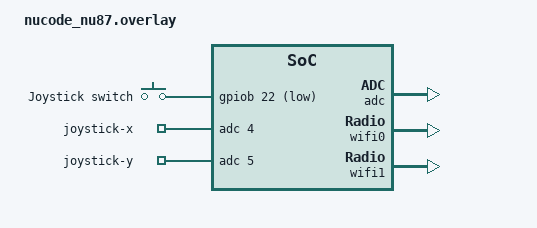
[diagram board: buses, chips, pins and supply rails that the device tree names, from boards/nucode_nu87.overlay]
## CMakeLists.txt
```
# SPDX-License-Identifier: Apache-2.0

cmake_minimum_required(VERSION 3.20.0)

find_package(Zephyr REQUIRED HINTS $ENV{ZEPHYR_BASE})
find_package(Python REQUIRED COMPONENTS Interpreter)
project(microwallaby_nu87_web_nes_poc)

set(web_dir ${CMAKE_CURRENT_SOURCE_DIR}/web)
set(gen_dir ${ZEPHYR_BINARY_DIR}/include/generated)

target_include_directories(app PRIVATE
  include
  ${CMAKE_CURRENT_SOURCE_DIR}/../nu87_io_bringup/include
)

target_sources(app PRIVATE
  src/input_protocol.c
  src/joystick.c
  src/main.c
  src/web_server.c
  src/websocket_control.c
  src/wifi_sta.c
  ../nu87_io_bringup/src/input_filter.c
)

target_link_libraries(app PRIVATE zephyr_interface zephyr)

zephyr_linker_sources(SECTIONS sections-rom.ld)
zephyr_linker_section(
  NAME http_resource_desc_mw_http_service
  KVMA RAM_REGION
  GROUP RODATA_REGION
)

generate_inc_file_for_target(app
  ${web_dir}/index.html
  ${gen_dir}/mw_index.html.gz.inc
  --gzip
)
generate_inc_file_for_target(app
  ${web_dir}/app.js
  ${gen_dir}/mw_app.js.gz.inc
  --gzip
)
generate_inc_file_for_target(app
  ${web_dir}/controller.js
  ${gen_dir}/mw_controller.js.gz.inc
  --gzip
)
generate_inc_file_for_target(app
  ${web_dir}/vendor/jsnes.min.js
  ${gen_dir}/mw_jsnes.min.js.gz.inc
  --gzip
)
```

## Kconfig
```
# SPDX-License-Identifier: Apache-2.0

mainmenu "microWallaby NU-87 Wi-Fi web NES PoC"

source "Kconfig.zephyr"

menu "microWallaby web NES PoC options"

config MW_WIFI_SSID
	string "Wi-Fi SSID"
	default ""
	help
	  Local-only build value. Keep credentials in the ignored wifi.conf file.

config MW_WIFI_PSK
	string "Wi-Fi password"
	default ""
	help
	  Local-only build value. Keep credentials in the ignored wifi.conf file.

choice MW_WIFI_SECURITY
	prompt "Wi-Fi security"
	default MW_WIFI_SECURITY_OPEN

config MW_WIFI_SECURITY_OPEN
	bool "Open (isolated test network only)"

config MW_WIFI_SECURITY_PSK
	bool "WPA2-PSK (explicit test-only opt-in)"

endchoice

config MW_ALLOW_INSECURE_TEST_PSK
	bool "Acknowledge AmebaD test-only random source for WPA2-PSK"
	depends on MW_WIFI_SECURITY_PSK
	default n
	help
	  The pinned AmebaD Zephyr port has no verified hardware entropy source.
	  Enable this only for a disposable WPA2 credential on a network isolated
	  from the home LAN and Internet. Never use a normal home Wi-Fi password.

config MW_WIFI_CONNECT_DELAY_MS
	int "Initial Wi-Fi connection delay (ms)"
	range 0 60000
	default 500

config MW_WIFI_CONNECT_RETRY_SECONDS
	int "Wi-Fi retry interval (seconds)"
	range 1 300
	default 10

config MW_WIFI_CONNECT_TIMEOUT_SECONDS
	int "Wi-Fi/DHCP connection timeout (seconds)"
	range 5 300
	default 30
	help
	  Retry if the Ameba driver does not report a successful connection and
	  DHCP lease before this interval expires.

config MW_WIFI_WORK_STACK_SIZE
	int "Dedicated Wi-Fi control workqueue stack size"
	range 2048 8192
	default 3072
	help
	  Stack used by the private queue that serializes the Ameba connect and
	  disconnect calls. Keeping these synchronous calls off Zephyr's system
	  workqueue prevents them from blocking unrelated system work.

config MW_WIFI_WORK_PRIORITY
	int "Dedicated Wi-Fi control workqueue priority"
	range 0 14
	default 7
	help
	  Preemptible Zephyr thread priority for Wi-Fi control work. Lower numeric
	  values have higher scheduling priority.

config MW_INPUT_STALE_TIMEOUT_MS
	int "Maximum joystick sample age before fail-safe release (ms)"
	range 20 1000
	default 100
	help
	  WebSocket frames older than this are marked invalid and forced to neutral.
	  This is independent from the browser's 250 ms transport stale timeout.

config MW_DEBOUNCE_SAMPLES
	int "Consecutive samples required for switch change"
	range 1 10
	default 3

config MW_ADC_RESOLUTION
	int "ADC resolution"
	range 12 12
	default 12

config MW_JOYSTICK_MIN
	int "Initial joystick minimum"
	range 0 4095
	default 0

config MW_JOYSTICK_CENTER
	int "Initial joystick center"
	range 1 4094
	default 2048

config MW_JOYSTICK_MAX
	int "Initial joystick maximum"
	range 1 4095
	default 4095

config MW_JOYSTICK_DEADZONE
	int "Initial joystick dead-zone in ADC counts"
	range 0 1024
	default 205

config MW_JOYSTICK_SAMPLE_PERIOD_MS
	int "Joystick sample period (ms)"
	range 5 100
	default 10

config MW_JOYSTICK_STACK_SIZE
	int "Joystick sampler stack size"
	default 1536

config MW_JOYSTICK_THREAD_PRIORITY
	int "Joystick sampler thread priority"
	range -16 15
	default 3

config MW_WEB_HTTP_PORT
	int "HTTP listen port"
	range 1 65535
	default 8080

config MW_WEB_INPUT_PERIOD_MS
	int "WebSocket joystick event period (ms)"
	range 10 1000
	default 20

config MW_WEB_SEND_TIMEOUT_MS
	int "WebSocket send timeout (ms)"
	range 0 5000
	default 100

config MW_WEB_SOCKET_STACK_SIZE
	int "Joystick WebSocket sender stack size"
	default 2048

config MW_WEB_SOCKET_PRIORITY
	int "Joystick WebSocket sender priority"
	range -16 15
	default 5

config MW_WEB_LOG_LEVEL
	int "Application log level"
	range 0 4
	default 3

endmenu
```

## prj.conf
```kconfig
# Core and diagnostics
CONFIG_GPIO=y
CONFIG_ADC=y
CONFIG_PINCTRL=y
CONFIG_CONSOLE=y
CONFIG_SERIAL=y
CONFIG_UART_CONSOLE=y
CONFIG_PRINTK=y
CONFIG_LOG=y
CONFIG_LOG_MODE_DEFERRED=y
CONFIG_LOG_DEFAULT_LEVEL=3
CONFIG_THREAD_NAME=y
CONFIG_ASSERT=y
CONFIG_MAIN_STACK_SIZE=2048
CONFIG_SYSTEM_WORKQUEUE_STACK_SIZE=2048

# Native IPv4 networking and Ameba station mode
CONFIG_NETWORKING=y
CONFIG_NET_IPV4=y
CONFIG_NET_IPV6=n
CONFIG_NET_TCP=y
CONFIG_NET_UDP=y
CONFIG_NET_SOCKETS=y
CONFIG_NET_CONNECTION_MANAGER=y
CONFIG_NET_DHCPV4=y
CONFIG_WIFI=y
CONFIG_WIFI_AMEBA=y
CONFIG_NET_L2_WIFI_MGMT=y
CONFIG_RTK_WIFI_STA_AUTO_DHCPV4=y
# Realtek's single-core Wi-Fi archive places DMA descriptors in .nocache.data.
CONFIG_NOCACHE_MEMORY=y

# HTTP/1.1 and WebSocket only. HTTP/2 would add RAM/flash cost without helping
# the single-browser, local-network PoC.
CONFIG_HTTP_SERVER=y
CONFIG_HTTP_SERVER_VERSION_1=y
CONFIG_HTTP_SERVER_VERSION_2=n
CONFIG_HTTP_SERVER_WEBSOCKET=y
CONFIG_HTTP_SERVER_MAX_CLIENTS=2
CONFIG_HTTP_SERVER_CLIENT_BUFFER_SIZE=512
CONFIG_HTTP_SERVER_STACK_SIZE=3072
CONFIG_POSIX_API=y
CONFIG_ZVFS_POLL_MAX=8

# Sized from Zephyr's Ameba Wi-Fi shell sample, then reduced to the number of
# connections needed by one page, one status request and one WebSocket.
CONFIG_HEAP_MEM_POOL_SIZE=65536
CONFIG_SYS_HEAP_RUNTIME_STATS=y
CONFIG_NET_PKT_RX_COUNT=10
CONFIG_NET_PKT_TX_COUNT=10
CONFIG_NET_BUF_RX_COUNT=20
# Native TCP keeps queued data while constructing a packet for transmission.
# Zephyr's minimum 1280-byte send window therefore needs more than 20
# 128-byte TX buffers; 32 also leaves headroom for the HTTP/WebSocket service.
CONFIG_NET_BUF_TX_COUNT=32
CONFIG_NET_MAX_CONTEXTS=10
CONFIG_NET_MAX_CONN=10
CONFIG_NET_MGMT_EVENT_QUEUE_SIZE=16
CONFIG_NET_MGMT_EVENT_QUEUE_TIMEOUT=5000
```

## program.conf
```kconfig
# Include the Realtek network-processor image in a flashable NU-87 build.
CONFIG_SOC_AMEBA_NP_IMAGE=y
```

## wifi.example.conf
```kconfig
# Copy this file to wifi.conf. wifi.conf is ignored by Git.
# Use a 2.4 GHz AP isolated from the home LAN and Internet.
CONFIG_MW_WIFI_SSID="YOUR_ISOLATED_2_4_GHZ_TEST_SSID"
CONFIG_MW_WIFI_PSK=""
CONFIG_MW_WIFI_SECURITY_OPEN=y

# A disposable WPA2 test credential requires both explicit settings below.
# The current AmebaD port has no verified cryptographic entropy source.
# CONFIG_MW_WIFI_SECURITY_PSK=y
# CONFIG_MW_WIFI_PSK="DISPOSABLE_TEST_PASSWORD"
# CONFIG_MW_ALLOW_INSECURE_TEST_PSK=y
```

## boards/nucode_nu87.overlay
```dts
/*
 * microWallaby joystick-only Wi-Fi fixture
 *
 * Joystick module wiring:
 *   module GND -> NU-87 GND
 *   module 5V  -> NU-87 3V3 (the label is a supply pin, do not apply 5 V)
 *   module VRx -> PB1 / ADC4
 *   module VRy -> PB2 / ADC5
 *   module SW  -> PB22
 *
 * SPDX-License-Identifier: Apache-2.0
 */

#include <zephyr/dt-bindings/gpio/gpio.h>
#include <zephyr/dt-bindings/input/input-event-codes.h>
#include <zephyr/dt-bindings/pinctrl/amebad-pinctrl.h>

/ {
	aliases {
		mw-joystick-sw = &mw_joystick_sw;
	};

	mw_inputs {
		compatible = "gpio-keys";
		polling-mode;

		/* Internal pull-up means no external 10 kohm resistor is required. */
		mw_joystick_sw: joystick_sw {
			gpios = <&gpiob 22 (GPIO_PULL_UP | GPIO_ACTIVE_LOW)>;
			label = "Joystick switch";
			zephyr,code = <INPUT_BTN_THUMBL>;
		};
	};

	zephyr,user {
		io-channels = <&adc 4>, <&adc 5>;
		io-channel-names = "joystick-x", "joystick-y";
	};
};

&pinctrl {
	mw_web_adc_default: mw_web_adc_default {
		group1 {
			pinmux = <AMEBA_PINMUX('B', 1, AMEBA_GPIO)>,
				 <AMEBA_PINMUX('B', 2, AMEBA_GPIO)>;
			digital-input-disable;
		};
	};
};

&adc {
	pinctrl-0 = <&mw_web_adc_default>;
	pinctrl-names = "default";
	status = "okay";
};

/* The Ameba driver declares station/AP interfaces as two DT instances. */
&wifi0 {
	status = "okay";
};

&wifi1 {
	status = "okay";
};
```

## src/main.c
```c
/* SPDX-License-Identifier: Apache-2.0 */

#include <zephyr/kernel.h>
#include <zephyr/logging/log.h>

#include <microwallaby_web/joystick.h>
#include <microwallaby_web/web_server.h>
#include <microwallaby_web/wifi_sta.h>

LOG_MODULE_REGISTER(mw_web_nes_main, CONFIG_MW_WEB_LOG_LEVEL);

int main(void)
{
	int ret;

	LOG_INF("microWallaby NU-87 Wi-Fi NES PoC starting");
	LOG_INF("No ROM is stored on or uploaded to this board");
	LOG_WRN("TEST ONLY: connect this firmware only to an isolated test network");

	ret = mw_joystick_start();
	if (ret < 0) {
		LOG_ERR("Joystick initialization failed: %d", ret);
	}

	ret = mw_web_server_start();
	if (ret < 0) {
		return ret;
	}

	ret = mw_wifi_sta_start();
	if (ret < 0) {
		LOG_ERR("Wi-Fi startup failed; Wi-Fi is disabled: %d", ret);
	}

	return 0;
}
```

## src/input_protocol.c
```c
/* SPDX-License-Identifier: Apache-2.0 */

#include <errno.h>
#include <inttypes.h>
#include <stdio.h>

#include <microwallaby_web/input_protocol.h>

bool mw_input_sample_sanitize(struct mw_joystick_sample *sample, int64_t sent_ms,
			      uint32_t maximum_age_ms)
{
	bool stale;

	if (sample == NULL) {
		return true;
	}

	stale = sample->captured_ms < 0 || sent_ms < sample->captured_ms ||
		(sent_ms - sample->captured_ms) > maximum_age_ms;
	if (stale || !sample->input_ok) {
		sample->x_permille = 0;
		sample->y_permille = 0;
		sample->sw_pressed = false;
	}
	if (stale) {
		sample->input_ok = false;
	}

	return stale;
}

int mw_input_event_format(char *buffer, size_t capacity,
			  const struct mw_joystick_sample *sample,
			  uint32_t transmit_sequence, int64_t sent_ms)
{
	int written;

	if (buffer == NULL || capacity == 0U || sample == NULL) {
		return -EINVAL;
	}

	written = snprintf(buffer, capacity,
			   "{\"v\":%d,\"seq\":%" PRIu32 ",\"sample_seq\":%" PRIu32
			   ",\"sample_ms\":%" PRId64 ",\"sent_ms\":%" PRId64
			   ",\"x\":%d,\"y\":%d,\"sw\":%s,\"ok\":%s}",
			   MW_INPUT_PROTOCOL_VERSION, transmit_sequence, sample->sequence,
			   sample->captured_ms, sent_ms, sample->x_permille,
			   sample->y_permille, sample->sw_pressed ? "true" : "false",
			   sample->input_ok ? "true" : "false");
	if (written < 0) {
		return written;
	}
	if ((size_t)written >= capacity) {
		return -ENOSPC;
	}

	return written;
}
```

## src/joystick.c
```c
/* SPDX-License-Identifier: Apache-2.0 */

#include <errno.h>

#include <zephyr/devicetree.h>
#include <zephyr/drivers/adc.h>
#include <zephyr/drivers/gpio.h>
#include <zephyr/kernel.h>
#include <zephyr/logging/log.h>
#include <zephyr/sys/atomic.h>
#include <zephyr/sys/util.h>

#include <microwallaby/input_filter.h>
#include <microwallaby_web/joystick.h>

LOG_MODULE_REGISTER(mw_joystick, CONFIG_MW_WEB_LOG_LEVEL);

#define USER_NODE DT_PATH(zephyr_user)
#define SWITCH_NODE DT_ALIAS(mw_joystick_sw)

#if !DT_NODE_EXISTS(SWITCH_NODE)
#error "The NU-87 web NES overlay must define the mw-joystick-sw alias"
#endif

BUILD_ASSERT(CONFIG_MW_JOYSTICK_MIN < CONFIG_MW_JOYSTICK_CENTER,
	     "joystick minimum must be below center");
BUILD_ASSERT(CONFIG_MW_JOYSTICK_CENTER < CONFIG_MW_JOYSTICK_MAX,
	     "joystick center must be below maximum");
BUILD_ASSERT(CONFIG_MW_JOYSTICK_DEADZONE <
	     (CONFIG_MW_JOYSTICK_CENTER - CONFIG_MW_JOYSTICK_MIN),
	     "joystick dead-zone must fit below center");
BUILD_ASSERT(CONFIG_MW_JOYSTICK_DEADZONE <
	     (CONFIG_MW_JOYSTICK_MAX - CONFIG_MW_JOYSTICK_CENTER),
	     "joystick dead-zone must fit above center");

static const struct gpio_dt_spec joystick_sw = GPIO_DT_SPEC_GET(SWITCH_NODE, gpios);
static const struct adc_dt_spec joystick_x = ADC_DT_SPEC_GET_BY_NAME(USER_NODE, joystick_x);
static const struct adc_dt_spec joystick_y = ADC_DT_SPEC_GET_BY_NAME(USER_NODE, joystick_y);

BUILD_ASSERT(DT_SAME_NODE(DT_IO_CHANNELS_CTLR_BY_NAME(USER_NODE, joystick_x),
			  DT_IO_CHANNELS_CTLR_BY_NAME(USER_NODE, joystick_y)),
	     "joystick axes must use the same ADC controller");
BUILD_ASSERT(DT_IO_CHANNELS_INPUT_BY_NAME(USER_NODE, joystick_x) <
		     DT_IO_CHANNELS_INPUT_BY_NAME(USER_NODE, joystick_y),
	     "ADC sequence returns joystick X before Y");

static struct mw_debounce switch_filter;
static struct mw_joystick_sample latest_sample;
static bool latest_ready;
static uint32_t sample_sequence;
static atomic_t samples_total;
static atomic_t input_errors;
static atomic_t deadline_misses;

K_MUTEX_DEFINE(sample_lock);
K_THREAD_STACK_DEFINE(sample_stack, CONFIG_MW_JOYSTICK_STACK_SIZE);
static struct k_thread sample_thread_data;

static bool raw_level_is_active(const struct gpio_dt_spec *spec, int raw_level)
{
	bool active_low = (spec->dt_flags & GPIO_ACTIVE_LOW) != 0U;

	return active_low ? raw_level == 0 : raw_level != 0;
}

static int configure_adc_channel(const struct adc_dt_spec *spec)
{
	struct adc_channel_cfg channel = {
		.gain = ADC_GAIN_1,
		.reference = ADC_REF_INTERNAL,
		.acquisition_time = ADC_ACQ_TIME_DEFAULT,
		.channel_id = spec->channel_id,
		.differential = false,
	};

	return adc_channel_setup(spec->dev, &channel);
}

static int read_adc_axes(uint16_t values[2])
{
	struct adc_sequence sequence = {
		.channels = BIT(joystick_x.channel_id) |
			    BIT(joystick_y.channel_id),
		.buffer = values,
		.buffer_size = 2U * sizeof(values[0]),
		.resolution = CONFIG_MW_ADC_RESOLUTION,
	};

	return adc_read(joystick_x.dev, &sequence);
}

static void publish_sample(const struct mw_joystick_sample *sample)
{
	k_mutex_lock(&sample_lock, K_FOREVER);
	latest_sample = *sample;
	latest_ready = true;
	k_mutex_unlock(&sample_lock);
}

static int sample_once(struct mw_joystick_sample *sample)
{
	uint16_t raw_axes[2];
	bool switch_changed;
	int switch_raw;
	int ret;

	*sample = (struct mw_joystick_sample) {
		.sequence = ++sample_sequence,
		.captured_ms = k_uptime_get(),
	};

	switch_raw = gpio_pin_get_raw(joystick_sw.port, joystick_sw.pin);
	if (switch_raw < 0) {
		return switch_raw;
	}
	sample->sw_pressed = mw_debounce_update(
		&switch_filter, raw_level_is_active(&joystick_sw, switch_raw),
		CONFIG_MW_DEBOUNCE_SAMPLES, &switch_changed);

	/* Read both axes in one conversion list; the driver validates channel IDs
	 * and returns samples in ascending channel order.
	 */
	ret = read_adc_axes(raw_axes);
	if (ret < 0) {
		return ret;
	}
	sample->raw_x = raw_axes[0];
	sample->raw_y = raw_axes[1];

	sample->x_permille = mw_axis_normalize(
		sample->raw_x, CONFIG_MW_JOYSTICK_MIN, CONFIG_MW_JOYSTICK_CENTER,
		CONFIG_MW_JOYSTICK_MAX, CONFIG_MW_JOYSTICK_DEADZONE);
	sample->y_permille = mw_axis_normalize(
		sample->raw_y, CONFIG_MW_JOYSTICK_MIN, CONFIG_MW_JOYSTICK_CENTER,
		CONFIG_MW_JOYSTICK_MAX, CONFIG_MW_JOYSTICK_DEADZONE);
	sample->input_ok = true;

	return 0;
}

static void sample_thread(void *unused1, void *unused2, void *unused3)
{
	const int64_t period_ms = CONFIG_MW_JOYSTICK_SAMPLE_PERIOD_MS;
	int64_t next_deadline_ms = k_uptime_get();
	uint32_t consecutive_errors = 0U;

	ARG_UNUSED(unused1);
	ARG_UNUSED(unused2);
	ARG_UNUSED(unused3);

	while (true) {
		struct mw_joystick_sample sample;
		int ret = sample_once(&sample);
		int64_t now_ms;

		atomic_inc(&samples_total);
		if (ret < 0) {
			sample.input_ok = false;
			atomic_inc(&input_errors);
			consecutive_errors++;
			if (consecutive_errors == 1U || consecutive_errors % 100U == 0U) {
				LOG_ERR("Joystick sampling failed: %d (count=%u)", ret,
					consecutive_errors);
			}
		} else {
			consecutive_errors = 0U;
		}
		publish_sample(&sample);

		/* Use absolute deadlines so ADC time does not accumulate as sampler
		 * drift. Count every skipped 10 ms slot for the soak-test record.
		 */
		next_deadline_ms += period_ms;
		now_ms = k_uptime_get();
		if (now_ms > next_deadline_ms) {
			uint32_t missed = (uint32_t)((now_ms - next_deadline_ms) /
						     period_ms) + 1U;

			atomic_add(&deadline_misses, (atomic_val_t)missed);
			next_deadline_ms += (int64_t)missed * period_ms;
		}
		k_sleep(K_TIMEOUT_ABS_MS(next_deadline_ms));
	}
}

int mw_joystick_start(void)
{
	int ret;

	if (!gpio_is_ready_dt(&joystick_sw) || !device_is_ready(joystick_x.dev) ||
	    !device_is_ready(joystick_y.dev)) {
		return -ENODEV;
	}

	ret = gpio_pin_configure_dt(&joystick_sw, GPIO_INPUT);
	if (ret < 0) {
		return ret;
	}
	ret = configure_adc_channel(&joystick_x);
	if (ret < 0) {
		return ret;
	}
	ret = configure_adc_channel(&joystick_y);
	if (ret < 0) {
		return ret;
	}

	k_thread_create(&sample_thread_data, sample_stack,
			K_THREAD_STACK_SIZEOF(sample_stack), sample_thread,
			NULL, NULL, NULL, CONFIG_MW_JOYSTICK_THREAD_PRIORITY, 0,
			K_NO_WAIT);
	k_thread_name_set(&sample_thread_data, "mw_joystick");
	LOG_INF("Joystick sampler started at %d Hz",
		1000 / CONFIG_MW_JOYSTICK_SAMPLE_PERIOD_MS);

	return 0;
}

bool mw_joystick_latest(struct mw_joystick_sample *sample)
{
	bool ready;

	if (sample == NULL) {
		return false;
	}

	k_mutex_lock(&sample_lock, K_FOREVER);
	*sample = latest_sample;
	ready = latest_ready;
	k_mutex_unlock(&sample_lock);

	return ready;
}

void mw_joystick_get_stats(struct mw_joystick_stats *stats)
{
	if (stats == NULL) {
		return;
	}

	*stats = (struct mw_joystick_stats) {
		.samples = (uint32_t)atomic_get(&samples_total),
		.input_errors = (uint32_t)atomic_get(&input_errors),
		.deadline_misses = (uint32_t)atomic_get(&deadline_misses),
	};
}
```

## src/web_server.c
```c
/* SPDX-License-Identifier: Apache-2.0 */

#include <errno.h>
#include <inttypes.h>
#include <stdio.h>

#include <zephyr/kernel.h>
#include <zephyr/logging/log.h>
#include <zephyr/net/http/server.h>
#include <zephyr/net/http/service.h>
#include <zephyr/net/socket.h>
#include <zephyr/net/websocket.h>
#include <zephyr/sys/atomic.h>
#include <zephyr/sys/mem_stats.h>
#include <zephyr/sys/sys_heap.h>
#include <zephyr/sys/util.h>

#include <microwallaby_web/input_protocol.h>
#include <microwallaby_web/joystick.h>
#include <microwallaby_web/web_server.h>
#include <microwallaby_web/websocket_control.h>
#include <microwallaby_web/wifi_sta.h>

LOG_MODULE_REGISTER(mw_web_server, CONFIG_MW_WEB_LOG_LEVEL);

#define WS_BUFFER_SIZE 256
#define WS_PAYLOAD_SIZE 192
#define WS_CONTROL_PAYLOAD_SIZE 125
#define STATUS_PAYLOAD_SIZE 448

extern struct k_heap _system_heap;

static const uint8_t index_html_gz[] = {
#include "mw_index.html.gz.inc"
};

static const uint8_t app_js_gz[] = {
#include "mw_app.js.gz.inc"
};

static const uint8_t controller_js_gz[] = {
#include "mw_controller.js.gz.inc"
};

static const uint8_t jsnes_js_gz[] = {
#include "mw_jsnes.min.js.gz.inc"
};

static struct http_resource_detail_static index_resource_detail = {
	.common = {
		.type = HTTP_RESOURCE_TYPE_STATIC,
		.bitmask_of_supported_http_methods = BIT(HTTP_GET),
		.content_encoding = "gzip",
		.content_type = "text/html",
	},
	.static_data = index_html_gz,
	.static_data_len = sizeof(index_html_gz),
};

static struct http_resource_detail_static app_resource_detail = {
	.common = {
		.type = HTTP_RESOURCE_TYPE_STATIC,
		.bitmask_of_supported_http_methods = BIT(HTTP_GET),
		.content_encoding = "gzip",
		.content_type = "text/javascript",
	},
	.static_data = app_js_gz,
	.static_data_len = sizeof(app_js_gz),
};

static struct http_resource_detail_static controller_resource_detail = {
	.common = {
		.type = HTTP_RESOURCE_TYPE_STATIC,
		.bitmask_of_supported_http_methods = BIT(HTTP_GET),
		.content_encoding = "gzip",
		.content_type = "text/javascript",
	},
	.static_data = controller_js_gz,
	.static_data_len = sizeof(controller_js_gz),
};

static struct http_resource_detail_static jsnes_resource_detail = {
	.common = {
		.type = HTTP_RESOURCE_TYPE_STATIC,
		.bitmask_of_supported_http_methods = BIT(HTTP_GET),
		.content_encoding = "gzip",
		.content_type = "text/javascript",
	},
	.static_data = jsnes_js_gz,
	.static_data_len = sizeof(jsnes_js_gz),
};

static int active_websocket = -1;
static atomic_t websocket_connected;
static atomic_t packets_sent;
static atomic_t send_errors;
static atomic_t stale_input_frames;

K_MUTEX_DEFINE(websocket_lock);
K_SEM_DEFINE(websocket_ready, 0, 1);

static int system_heap_stats_get(struct sys_memory_stats *stats)
{
	k_spinlock_key_t key = k_spin_lock(&_system_heap.lock);
	int ret = sys_heap_runtime_stats_get(&_system_heap.heap, stats);

	k_spin_unlock(&_system_heap.lock, key);
	return ret;
}

static int status_handler(struct http_client_ctx *client,
			  enum http_transaction_status status,
			  const struct http_request_ctx *request_ctx,
			  struct http_response_ctx *response_ctx, void *user_data)
{
	static char response[STATUS_PAYLOAD_SIZE];
	struct mw_joystick_stats input_stats;
	struct sys_memory_stats heap_stats = {0};
	struct mw_web_server_stats stats;
	size_t heap_min_free = 0U;
	int heap_result;
	int written;

	ARG_UNUSED(client);
	ARG_UNUSED(request_ctx);
	ARG_UNUSED(user_data);

	if (status != HTTP_SERVER_REQUEST_DATA_FINAL) {
		return 0;
	}

	mw_web_server_get_stats(&stats);
	mw_joystick_get_stats(&input_stats);
	heap_result = system_heap_stats_get(&heap_stats);
	if (heap_result == 0 &&
	    heap_stats.free_bytes + heap_stats.allocated_bytes >=
		    heap_stats.max_allocated_bytes) {
		heap_min_free = heap_stats.free_bytes + heap_stats.allocated_bytes -
			heap_stats.max_allocated_bytes;
	}
	written = snprintk(response, sizeof(response),
			    "{\"v\":1,\"uptime_ms\":%" PRId64
			    ",\"wifi_ipv4\":%s,\"joystick_ws\":%s,"
			    "\"packets_sent\":%" PRIu32 ",\"send_errors\":%" PRIu32
			    ",\"stale_input_frames\":%" PRIu32
			    ",\"input_samples\":%" PRIu32 ",\"input_errors\":%" PRIu32
			    ",\"deadline_misses\":%" PRIu32 ",\"heap_stats_ok\":%s"
			    ",\"heap_free_bytes\":%zu,\"heap_allocated_bytes\":%zu"
			    ",\"heap_peak_allocated_bytes\":%zu,\"heap_min_free_bytes\":%zu}",
			    k_uptime_get(), mw_wifi_sta_ipv4_ready() ? "true" : "false",
			    stats.client_connected ? "true" : "false", stats.packets_sent,
			    stats.send_errors, stats.stale_input_frames, input_stats.samples,
			    input_stats.input_errors,
			    input_stats.deadline_misses, heap_result == 0 ? "true" : "false",
			    heap_stats.free_bytes, heap_stats.allocated_bytes,
			    heap_stats.max_allocated_bytes, heap_min_free);
	if (written < 0 || (size_t)written >= sizeof(response)) {
		return -ENOSPC;
	}

	response_ctx->body = (const uint8_t *)response;
	response_ctx->body_len = written;
	response_ctx->final_chunk = true;
	return 0;
}

static struct http_resource_detail_dynamic status_resource_detail = {
	.common = {
		.type = HTTP_RESOURCE_TYPE_DYNAMIC,
		.bitmask_of_supported_http_methods = BIT(HTTP_GET),
		.content_type = "application/json",
	},
	.cb = status_handler,
};

static uint8_t websocket_buffer[WS_BUFFER_SIZE];

static int websocket_setup(int socket, struct http_request_ctx *request_ctx,
			   void *user_data)
{
	ARG_UNUSED(request_ctx);
	ARG_UNUSED(user_data);

	k_mutex_lock(&websocket_lock, K_FOREVER);
	if (active_websocket >= 0) {
		k_mutex_unlock(&websocket_lock);
		LOG_WRN("Rejecting a second joystick WebSocket client");
		return -EBUSY;
	}
	active_websocket = socket;
	atomic_set(&websocket_connected, 1);
	k_mutex_unlock(&websocket_lock);

	k_sem_give(&websocket_ready);
	LOG_INF("Joystick WebSocket client connected");
	return 0;
}

static struct http_resource_detail_websocket websocket_resource_detail = {
	.common = {
		.type = HTTP_RESOURCE_TYPE_WEBSOCKET,
		.bitmask_of_supported_http_methods = BIT(HTTP_GET),
	},
	.cb = websocket_setup,
	.data_buffer = websocket_buffer,
	.data_buffer_len = sizeof(websocket_buffer),
};

static int current_websocket(void)
{
	int socket;

	k_mutex_lock(&websocket_lock, K_FOREVER);
	socket = active_websocket;
	k_mutex_unlock(&websocket_lock);
	return socket;
}

static void close_websocket(int socket)
{
	bool owned = false;

	k_mutex_lock(&websocket_lock, K_FOREVER);
	if (active_websocket == socket) {
		active_websocket = -1;
		atomic_clear(&websocket_connected);
		owned = true;
	}
	k_mutex_unlock(&websocket_lock);

	if (owned) {
		(void)websocket_unregister(socket);
	}
}

static int service_websocket_rx(int socket)
{
	uint8_t payload[WS_CONTROL_PAYLOAD_SIZE];
	uint32_t message_type = 0U;
	uint64_t remaining = 0U;
	int ret = websocket_recv_msg(socket, payload, sizeof(payload), &message_type,
				     &remaining, 0);
	int validation_ret;

	if (ret == -EAGAIN) {
		return 0;
	}
	if (ret < 0) {
		return ret;
	}
	validation_ret = mw_websocket_control_frame_validate(
		(message_type & WEBSOCKET_FLAG_FINAL) != 0U,
		(message_type & WEBSOCKET_FLAG_CLOSE) != 0U,
		(message_type & WEBSOCKET_FLAG_PING) != 0U,
		(message_type & WEBSOCKET_FLAG_PONG) != 0U, remaining);
	if (validation_ret < 0) {
		return validation_ret;
	}
	if ((message_type & WEBSOCKET_FLAG_CLOSE) != 0U) {
		return -ENOTCONN;
	}
	if ((message_type & WEBSOCKET_FLAG_PING) != 0U) {
		ret = websocket_send_msg(socket, payload, (size_t)ret,
					 WEBSOCKET_OPCODE_PONG, false, true,
					 CONFIG_MW_WEB_SEND_TIMEOUT_MS);
		return ret < 0 ? ret : 0;
	}
	if ((message_type & WEBSOCKET_FLAG_PONG) != 0U) {
		return 0;
	}

	return -EPROTO;
}

static void websocket_sender(void *unused1, void *unused2, void *unused3)
{
	char payload[WS_PAYLOAD_SIZE];
	uint32_t transmit_sequence = 0U;

	ARG_UNUSED(unused1);
	ARG_UNUSED(unused2);
	ARG_UNUSED(unused3);

	while (true) {
		int socket;

		k_sem_take(&websocket_ready, K_FOREVER);
		while ((socket = current_websocket()) >= 0) {
			struct mw_joystick_sample sample;
			int64_t sent_ms;
			int length;
			int ret;

			ret = service_websocket_rx(socket);
			if (ret < 0) {
				if (ret == -ENOTCONN) {
					LOG_INF("Joystick WebSocket peer closed");
				} else {
					atomic_inc(&send_errors);
					LOG_WRN("WebSocket receive/control error: %d", ret);
				}
				close_websocket(socket);
				break;
			}

			if (!mw_joystick_latest(&sample)) {
				k_sleep(K_MSEC(CONFIG_MW_WEB_INPUT_PERIOD_MS));
				continue;
			}

			sent_ms = k_uptime_get();
			if (mw_input_sample_sanitize(&sample, sent_ms,
						     CONFIG_MW_INPUT_STALE_TIMEOUT_MS)) {
				atomic_inc(&stale_input_frames);
			}

			/* Advance for every emission attempt. If formatting or sending fails,
			 * the next frame lets a connected/reconnected browser observe the gap.
			 */
			transmit_sequence++;
			length = mw_input_event_format(payload, sizeof(payload), &sample,
						       transmit_sequence, sent_ms);
			if (length < 0) {
				atomic_inc(&send_errors);
				LOG_ERR("Input event formatting failed: %d", length);
				k_sleep(K_MSEC(CONFIG_MW_WEB_INPUT_PERIOD_MS));
				continue;
			}

			ret = websocket_send_msg(socket, (const uint8_t *)payload, length,
						 WEBSOCKET_OPCODE_DATA_TEXT, false, true,
						 CONFIG_MW_WEB_SEND_TIMEOUT_MS);
			if (ret < 0) {
				atomic_inc(&send_errors);
				LOG_WRN("Joystick WebSocket closed: %d", ret);
				close_websocket(socket);
				break;
			}

			atomic_inc(&packets_sent);
			k_sleep(K_MSEC(CONFIG_MW_WEB_INPUT_PERIOD_MS));
		}
	}
}

K_THREAD_DEFINE(websocket_sender_thread, CONFIG_MW_WEB_SOCKET_STACK_SIZE,
		websocket_sender, NULL, NULL, NULL, CONFIG_MW_WEB_SOCKET_PRIORITY, 0, 0);

static uint16_t http_port = CONFIG_MW_WEB_HTTP_PORT;
HTTP_SERVICE_DEFINE(mw_http_service, NULL, &http_port,
		    CONFIG_HTTP_SERVER_MAX_CLIENTS, 2, NULL, NULL, NULL);

HTTP_RESOURCE_DEFINE(index_resource, mw_http_service, "/", &index_resource_detail);
HTTP_RESOURCE_DEFINE(app_resource, mw_http_service, "/app.js", &app_resource_detail);
HTTP_RESOURCE_DEFINE(controller_resource, mw_http_service, "/controller.js",
		     &controller_resource_detail);
HTTP_RESOURCE_DEFINE(jsnes_resource, mw_http_service, "/jsnes.min.js",
		     &jsnes_resource_detail);
HTTP_RESOURCE_DEFINE(status_resource, mw_http_service, "/api/status",
		     &status_resource_detail);
HTTP_RESOURCE_DEFINE(websocket_resource, mw_http_service, "/ws/input",
		     &websocket_resource_detail);

int mw_web_server_start(void)
{
	int ret = http_server_start();

	if (ret < 0) {
		LOG_ERR("HTTP server failed to start: %d", ret);
		return ret;
	}

	LOG_INF("HTTP/WebSocket server listening on port %u", http_port);
	return 0;
}

void mw_web_server_get_stats(struct mw_web_server_stats *stats)
{
	if (stats == NULL) {
		return;
	}

	*stats = (struct mw_web_server_stats) {
		.packets_sent = (uint32_t)atomic_get(&packets_sent),
		.send_errors = (uint32_t)atomic_get(&send_errors),
		.stale_input_frames = (uint32_t)atomic_get(&stale_input_frames),
		.client_connected = atomic_get(&websocket_connected) != 0,
	};
}
```

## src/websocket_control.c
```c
/* SPDX-License-Identifier: Apache-2.0 */

#include <errno.h>

#include <microwallaby_web/websocket_control.h>

int mw_websocket_control_frame_validate(bool final, bool close_frame,
					bool ping_frame, bool pong_frame,
					uint64_t remaining)
{
	unsigned int control_type_count = (close_frame ? 1U : 0U) +
		(ping_frame ? 1U : 0U) + (pong_frame ? 1U : 0U);

	if (remaining != 0U) {
		return -EMSGSIZE;
	}
	if (!final || control_type_count != 1U) {
		return -EPROTO;
	}

	return 0;
}
```

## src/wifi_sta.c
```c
/* SPDX-License-Identifier: Apache-2.0 */

#include <errno.h>
#include <stdio.h>

#include <zephyr/kernel.h>
#include <zephyr/logging/log.h>
#include <zephyr/net/net_if.h>
#include <zephyr/net/net_ip.h>
#include <zephyr/net/net_mgmt.h>
#include <zephyr/net/wifi.h>
#include <zephyr/net/wifi_mgmt.h>
#include <zephyr/sys/atomic.h>
#include <zephyr/sys/util.h>

#include <microwallaby_web/wifi_sta.h>

LOG_MODULE_REGISTER(mw_wifi_sta, CONFIG_MW_WEB_LOG_LEVEL);

#define WIFI_EVENTS (NET_EVENT_WIFI_CONNECT_RESULT | NET_EVENT_WIFI_DISCONNECT_RESULT)
#define IPV4_EVENTS (NET_EVENT_IPV4_ADDR_ADD | NET_EVENT_IPV4_ADDR_DEL)

enum wifi_phase {
	WIFI_PHASE_IDLE,
	WIFI_PHASE_RETRY_WAIT,
	WIFI_PHASE_CONNECTING,
	WIFI_PHASE_WAIT_DHCP,
	WIFI_PHASE_CANCEL_PENDING,
	WIFI_PHASE_DISCONNECTING,
	WIFI_PHASE_READY,
};

struct dhcp_address_search {
	bool found;
	char address[NET_IPV4_ADDR_LEN];
};

static struct net_if *sta_iface;
static struct net_mgmt_event_callback wifi_callback;
static struct net_mgmt_event_callback ipv4_callback;
static struct k_work_q wifi_work_queue;
static struct k_work_delayable reconnect_work;
static struct k_work disconnect_work;
static struct k_work_delayable connect_timeout_work;
static enum wifi_phase phase;
static uint32_t generation;
static uint32_t timeout_generation;
static int64_t timeout_deadline_ms;
static uint32_t cancel_generation;
static bool connect_result_ok;
static bool address_valid;
static atomic_t ipv4_ready;
static char ipv4_address[NET_IPV4_ADDR_LEN];

K_MUTEX_DEFINE(state_lock);
K_THREAD_STACK_DEFINE(wifi_work_stack, CONFIG_MW_WIFI_WORK_STACK_SIZE);

static enum wifi_security_type configured_security(void)
{
#if defined(CONFIG_MW_WIFI_SECURITY_OPEN)
	return WIFI_SECURITY_TYPE_NONE;
#else
	return WIFI_SECURITY_TYPE_PSK;
#endif
}

BUILD_ASSERT(!IS_ENABLED(CONFIG_MW_WIFI_SECURITY_PSK) ||
		     IS_ENABLED(CONFIG_MW_ALLOW_INSECURE_TEST_PSK),
		     "WPA2-PSK requires explicit CONFIG_MW_ALLOW_INSECURE_TEST_PSK=y");

static void clear_ipv4_locked(void)
{
	address_valid = false;
	ipv4_address[0] = '\0';
	atomic_clear(&ipv4_ready);
}

static bool mark_ready_if_complete_locked(void)
{
	bool became_ready = false;

	if (connect_result_ok && address_valid &&
	    (phase == WIFI_PHASE_CONNECTING || phase == WIFI_PHASE_WAIT_DHCP ||
	     phase == WIFI_PHASE_READY)) {
		became_ready = atomic_get(&ipv4_ready) == 0;
		phase = WIFI_PHASE_READY;
		atomic_set(&ipv4_ready, 1);
	}

	return became_ready;
}

static void schedule_connect(k_timeout_t delay)
{
	int ret = k_work_reschedule_for_queue(&wifi_work_queue, &reconnect_work, delay);

	if (ret < 0) {
		LOG_ERR("Failed to schedule Wi-Fi connection work: %d", ret);
	}
}

static void schedule_reconnect(void)
{
	schedule_connect(K_SECONDS(CONFIG_MW_WIFI_CONNECT_RETRY_SECONDS));
}

static int arm_connect_timeout_locked(void)
{
	timeout_generation = generation;
	timeout_deadline_ms =
		k_uptime_get() + (CONFIG_MW_WIFI_CONNECT_TIMEOUT_SECONDS * MSEC_PER_SEC);

	return k_work_reschedule(
		&connect_timeout_work, K_SECONDS(CONFIG_MW_WIFI_CONNECT_TIMEOUT_SECONDS));
}

static void log_ready_address(void)
{
	char address[NET_IPV4_ADDR_LEN];

	if (mw_wifi_sta_address(address, sizeof(address)) >= 0) {
		LOG_INF("Open http://%s:%d/ on a device connected to the same network", address,
			CONFIG_MW_WEB_HTTP_PORT);
	}
}

static void disconnect_work_handler(struct k_work *work)
{
	uint32_t work_generation;
	bool retry = false;
	int ret;

	ARG_UNUSED(work);

	k_mutex_lock(&state_lock, K_FOREVER);
	work_generation = cancel_generation;
	if (phase != WIFI_PHASE_CANCEL_PENDING || work_generation != generation) {
		k_mutex_unlock(&state_lock);
		return;
	}
	phase = WIFI_PHASE_DISCONNECTING;
	k_mutex_unlock(&state_lock);

	ret = net_mgmt(NET_REQUEST_WIFI_DISCONNECT, sta_iface, NULL, 0);
	if (ret >= 0) {
		/* The disconnect-result event is the barrier that permits a retry. */
		return;
	}

	LOG_ERR("Wi-Fi disconnect request failed: %d", ret);
	k_mutex_lock(&state_lock, K_FOREVER);
	if (generation == work_generation && phase == WIFI_PHASE_DISCONNECTING) {
		phase = WIFI_PHASE_RETRY_WAIT;
		connect_result_ok = false;
		clear_ipv4_locked();
		retry = true;
	}
	k_mutex_unlock(&state_lock);

	if (retry) {
		schedule_reconnect();
	}
}

static void connect_timeout_handler(struct k_work *work)
{
	uint32_t work_generation;
	int64_t remaining_ms;
	bool cancel = false;
	bool rearmed = false;
	int ret = 0;

	ARG_UNUSED(work);

	k_mutex_lock(&state_lock, K_FOREVER);
	work_generation = timeout_generation;
	if (work_generation == generation &&
	    (phase == WIFI_PHASE_CONNECTING || phase == WIFI_PHASE_WAIT_DHCP)) {
		remaining_ms = timeout_deadline_ms - k_uptime_get();
		if (remaining_ms > 0) {
			/*
			 * A cancelled handler from an older generation may already be
			 * running. Honor the current generation's absolute deadline.
			 */
			ret = k_work_reschedule(&connect_timeout_work, K_MSEC(remaining_ms));
			rearmed = true;
		} else {
			phase = WIFI_PHASE_CANCEL_PENDING;
			cancel_generation = work_generation;
			connect_result_ok = false;
			clear_ipv4_locked();
			cancel = true;
		}
	}
	k_mutex_unlock(&state_lock);

	if (rearmed) {
		if (ret < 0) {
			LOG_ERR("Failed to rearm Wi-Fi timeout: %d", ret);
		}
		return;
	}

	if (!cancel) {
		return;
	}

	LOG_WRN("Wi-Fi/DHCP timed out after %d seconds; cancelling generation %u",
		CONFIG_MW_WIFI_CONNECT_TIMEOUT_SECONDS, work_generation);
	ret = k_work_submit_to_queue(&wifi_work_queue, &disconnect_work);
	if (ret < 0) {
		LOG_ERR("Failed to queue Wi-Fi disconnect work: %d", ret);
	}
}

static void connect_work_handler(struct k_work *work)
{
	struct wifi_connect_req_params params = {
		.ssid = (const uint8_t *)CONFIG_MW_WIFI_SSID,
		.ssid_length = sizeof(CONFIG_MW_WIFI_SSID) - 1U,
		.security = configured_security(),
		.channel = WIFI_CHANNEL_ANY,
		.band = WIFI_FREQ_BAND_2_4_GHZ,
	};
	uint32_t work_generation;
	bool retry = false;
	int timeout_ret;
	int ret;

	ARG_UNUSED(work);

	k_mutex_lock(&state_lock, K_FOREVER);
	if (phase != WIFI_PHASE_IDLE && phase != WIFI_PHASE_RETRY_WAIT) {
		k_mutex_unlock(&state_lock);
		return;
	}
	work_generation = ++generation;
	phase = WIFI_PHASE_CONNECTING;
	connect_result_ok = false;
	clear_ipv4_locked();
	timeout_ret = arm_connect_timeout_locked();
	k_mutex_unlock(&state_lock);

	if (params.security != WIFI_SECURITY_TYPE_NONE) {
		params.psk = (const uint8_t *)CONFIG_MW_WIFI_PSK;
		params.psk_length = sizeof(CONFIG_MW_WIFI_PSK) - 1U;
	}

	if (timeout_ret < 0) {
		LOG_ERR("Failed to schedule Wi-Fi timeout: %d", timeout_ret);
	}

	LOG_INF("Connecting generation %u to configured isolated test AP (SSID length %zu)",
		work_generation, sizeof(CONFIG_MW_WIFI_SSID) - 1U);
	ret = net_mgmt(NET_REQUEST_WIFI_CONNECT, sta_iface, &params, sizeof(params));

	k_mutex_lock(&state_lock, K_FOREVER);
	if (generation != work_generation) {
		k_mutex_unlock(&state_lock);
		return;
	}

	if (ret < 0 && phase == WIFI_PHASE_CANCEL_PENDING) {
		/* The synchronous connect failed after its timeout. No disconnect is needed. */
		phase = WIFI_PHASE_RETRY_WAIT;
		connect_result_ok = false;
		clear_ipv4_locked();
		retry = true;
	} else if (ret < 0 && phase == WIFI_PHASE_CONNECTING) {
		phase = WIFI_PHASE_RETRY_WAIT;
		connect_result_ok = false;
		clear_ipv4_locked();
		retry = true;
	} else if (ret >= 0 && phase == WIFI_PHASE_CONNECTING) {
		/* Ameba starts DHCP after its synchronous association call returns. */
		phase = WIFI_PHASE_WAIT_DHCP;
	}
	k_mutex_unlock(&state_lock);

	if (ret < 0) {
		LOG_ERR("Wi-Fi connect request failed: %d", ret);
	}
	if (retry) {
		(void)k_work_cancel_delayable(&connect_timeout_work);
		schedule_reconnect();
	}
}

static void wifi_event_handler(struct net_mgmt_event_callback *callback,
			       uint64_t event, struct net_if *iface)
{
	const struct wifi_status *status = callback->info;
	bool cancel_timeout = false;
	bool ready = false;
	bool retry = false;

	if (iface != sta_iface) {
		return;
	}

	if (event == NET_EVENT_WIFI_CONNECT_RESULT) {
		int result = status != NULL ? status->status : -EIO;

		k_mutex_lock(&state_lock, K_FOREVER);
		if (phase != WIFI_PHASE_CONNECTING && phase != WIFI_PHASE_WAIT_DHCP) {
			uint32_t late_generation = generation;

			k_mutex_unlock(&state_lock);
			LOG_WRN("Ignoring late Wi-Fi result for generation %u", late_generation);
			return;
		}

		if (result != 0) {
			phase = WIFI_PHASE_RETRY_WAIT;
			connect_result_ok = false;
			clear_ipv4_locked();
			cancel_timeout = true;
			retry = true;
		} else {
			connect_result_ok = true;
			phase = WIFI_PHASE_WAIT_DHCP;
			ready = mark_ready_if_complete_locked();
			cancel_timeout = ready;
		}
		k_mutex_unlock(&state_lock);

		if (result != 0) {
			LOG_ERR("Wi-Fi association/DHCP failed: %d", result);
		} else if (!ready) {
			LOG_INF("Wi-Fi DHCP completed; waiting for the IPv4 address event");
		}
	} else if (event == NET_EVENT_WIFI_DISCONNECT_RESULT) {
		k_mutex_lock(&state_lock, K_FOREVER);
		if (phase == WIFI_PHASE_DISCONNECTING || phase == WIFI_PHASE_WAIT_DHCP ||
		    phase == WIFI_PHASE_READY) {
			phase = WIFI_PHASE_RETRY_WAIT;
			connect_result_ok = false;
			clear_ipv4_locked();
			cancel_timeout = true;
			retry = true;
		}
		k_mutex_unlock(&state_lock);

		if (retry) {
			LOG_WRN("Wi-Fi disconnected; retrying in %d seconds",
				CONFIG_MW_WIFI_CONNECT_RETRY_SECONDS);
		}
	}

	if (cancel_timeout) {
		(void)k_work_cancel_delayable(&connect_timeout_work);
	}
	if (ready) {
		LOG_INF("Wi-Fi connected; Ameba DHCP negotiation completed");
		log_ready_address();
	}
	if (retry) {
		schedule_reconnect();
	}
}

static void find_dhcp_address(struct net_if *iface, struct net_if_addr *if_addr,
			      void *user_data)
{
	struct dhcp_address_search *search = user_data;

	ARG_UNUSED(iface);

	if (search->found || if_addr->addr_type != NET_ADDR_DHCP) {
		return;
	}

	if (net_addr_ntop(NET_AF_INET, &if_addr->address.in_addr, search->address,
			  sizeof(search->address)) != NULL) {
		search->found = true;
	}
}

static void ipv4_event_handler(struct net_mgmt_event_callback *callback,
			       uint64_t event, struct net_if *iface)
{
	bool cancel_timeout = false;
	bool ready = false;

	ARG_UNUSED(callback);

	if (iface != sta_iface) {
		return;
	}

	if (event == NET_EVENT_IPV4_ADDR_DEL) {
		bool restart_timeout = false;
		int timeout_ret = 0;

		k_mutex_lock(&state_lock, K_FOREVER);
		clear_ipv4_locked();
		if (phase == WIFI_PHASE_READY) {
			phase = WIFI_PHASE_WAIT_DHCP;
			connect_result_ok = false;
			timeout_ret = arm_connect_timeout_locked();
			restart_timeout = true;
		}
		k_mutex_unlock(&state_lock);

		if (restart_timeout && timeout_ret < 0) {
			LOG_ERR("Failed to schedule DHCP recovery timeout: %d", timeout_ret);
		}
		return;
	}

	if (event == NET_EVENT_IPV4_ADDR_ADD) {
		struct dhcp_address_search search = {0};

		net_if_ipv4_addr_foreach(iface, find_dhcp_address, &search);
		if (!search.found) {
			return;
		}

		k_mutex_lock(&state_lock, K_FOREVER);
		if (phase == WIFI_PHASE_CONNECTING || phase == WIFI_PHASE_WAIT_DHCP ||
		    phase == WIFI_PHASE_READY) {
			snprintk(ipv4_address, sizeof(ipv4_address), "%s", search.address);
			address_valid = true;
			ready = mark_ready_if_complete_locked();
			cancel_timeout = ready;
		}
		k_mutex_unlock(&state_lock);
	}

	if (cancel_timeout) {
		(void)k_work_cancel_delayable(&connect_timeout_work);
	}
	if (ready) {
		LOG_INF("Wi-Fi connected; Ameba DHCP negotiation completed");
		log_ready_address();
	}
}

int mw_wifi_sta_start(void)
{
	const size_t ssid_length = sizeof(CONFIG_MW_WIFI_SSID) - 1U;
	const size_t psk_length = sizeof(CONFIG_MW_WIFI_PSK) - 1U;
	const struct k_work_queue_config queue_config = {
		.name = "mw_wifi",
	};
	enum wifi_security_type security = configured_security();

	if (ssid_length == 0U) {
		LOG_ERR("CONFIG_MW_WIFI_SSID is empty; copy wifi.example.conf to "
			"wifi.conf and set local credentials");
		return -EINVAL;
	}
	if (ssid_length > WIFI_SSID_MAX_LEN) {
		LOG_ERR("Wi-Fi SSID is too long (%zu > %d)", ssid_length,
			WIFI_SSID_MAX_LEN);
		return -EINVAL;
	}
	if (security == WIFI_SECURITY_TYPE_NONE && psk_length != 0U) {
		LOG_ERR("Wi-Fi password is set while OPEN security is selected; "
			"select WPA2-PSK or clear CONFIG_MW_WIFI_PSK");
		return -EINVAL;
	}
	if (security != WIFI_SECURITY_TYPE_NONE &&
	    (psk_length < WIFI_PSK_MIN_LEN || psk_length > WIFI_PSK_MAX_LEN)) {
		LOG_ERR("Wi-Fi password length must be %d..%d for WPA2-PSK",
			WIFI_PSK_MIN_LEN, WIFI_PSK_MAX_LEN);
		return -EINVAL;
	}
	if (security == WIFI_SECURITY_TYPE_PSK) {
		LOG_WRN("TEST ONLY: WPA2 uses an unverified AmebaD random source; "
			"use a disposable credential on an isolated AP");
	} else {
		LOG_WRN("TEST ONLY: open Wi-Fi and plain HTTP provide no confidentiality");
	}

	sta_iface = net_if_get_wifi_sta();
	if (sta_iface == NULL) {
		LOG_ERR("No Wi-Fi STA interface; verify both wifi0 and wifi1 are enabled "
			"and Realtek blobs are present");
		return -ENODEV;
	}

	k_work_queue_init(&wifi_work_queue);
	k_work_queue_start(&wifi_work_queue, wifi_work_stack,
			   K_THREAD_STACK_SIZEOF(wifi_work_stack),
			   K_PRIO_PREEMPT(CONFIG_MW_WIFI_WORK_PRIORITY), &queue_config);
	k_work_init_delayable(&reconnect_work, connect_work_handler);
	k_work_init(&disconnect_work, disconnect_work_handler);
	k_work_init_delayable(&connect_timeout_work, connect_timeout_handler);

	net_mgmt_init_event_callback(&wifi_callback, wifi_event_handler, WIFI_EVENTS);
	net_mgmt_add_event_callback(&wifi_callback);
	net_mgmt_init_event_callback(&ipv4_callback, ipv4_event_handler, IPV4_EVENTS);
	net_mgmt_add_event_callback(&ipv4_callback);

	k_mutex_lock(&state_lock, K_FOREVER);
	phase = WIFI_PHASE_RETRY_WAIT;
	connect_result_ok = false;
	clear_ipv4_locked();
	k_mutex_unlock(&state_lock);
	schedule_connect(K_MSEC(CONFIG_MW_WIFI_CONNECT_DELAY_MS));

	return 0;
}

bool mw_wifi_sta_ipv4_ready(void)
{
	return atomic_get(&ipv4_ready) != 0;
}

int mw_wifi_sta_address(char *buffer, size_t capacity)
{
	int written;

	if (buffer == NULL || capacity == 0U) {
		return -EINVAL;
	}

	k_mutex_lock(&state_lock, K_FOREVER);
	if (phase != WIFI_PHASE_READY || !address_valid || atomic_get(&ipv4_ready) == 0) {
		k_mutex_unlock(&state_lock);
		return -ENETDOWN;
	}
	written = snprintf(buffer, capacity, "%s", ipv4_address);
	k_mutex_unlock(&state_lock);
	if (written < 0) {
		return written;
	}
	if ((size_t)written >= capacity) {
		return -ENOSPC;
	}

	return written;
}
```
